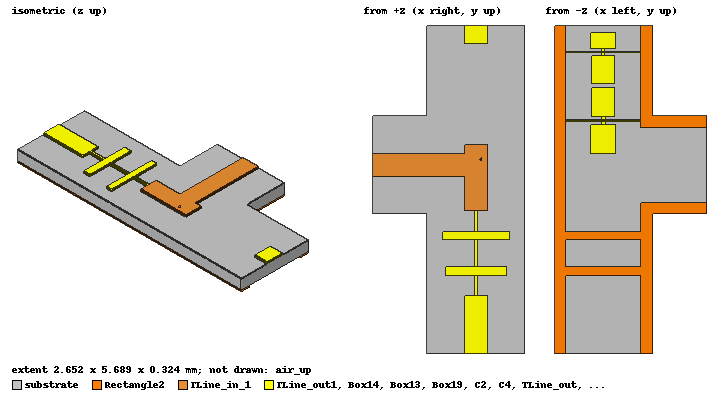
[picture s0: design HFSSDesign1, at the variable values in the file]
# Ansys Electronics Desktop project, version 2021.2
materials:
  vacuum: permittivity=1
  Al2_O3_ceramic: permittivity=9.9 dielectric_loss_tangent=0.002
  copper: permeability=0.999991 conductivity=58000000

design HFSSDesign1 (HFSS, DrivenModal, model units mm)
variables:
  l_line3185g = 0.604mm
  l_C4185g = 0.134655mm
  l_L3185g = 0.466720mm
  w_line185g = 0.395mm
  l_C2185g = 0.165564mm
  l_L1185g = 0.346276mm
  l_line4185g = 1mm
  l_L5185g = 0.361332mm
  l_sub185g = L2_g2185g+L2_g2185g+L4_g4185g+L4_g2185g+w_L4185g/2+L4_g2185g+L4_g4185g+w_L4185g/2+kong185G+L2_g4185g+w_L2185g*2+L2_g4185g-kong2185g+kong0185g+l_line2185g
  l_sub_LPF185g = l_line3185g+l_L5185g+l_C4185g+l_L3185g+l_C2185g+l_L1185g+l_line4185g
  l_line185g = 2mm
  L4_g4185g = 0.501mm
  h_sub185g = 0.254mm
  w_L4185g = 0.04mm
  kong0185g = 0
  L4_g2185g = 0.05mm
  w_sub185g = 1.7mm
  L2_g4185g = 0.501mm
  L2_g2185g = 0.05mm
  w_L2185g = 0.01mm
  kong185G = 0.06mm
  kong2185g = 0.42mm
  l_line2185g = 0.311579mm
  copper = 0.035mm
  h_down_box185g = 0.25mm
  h_up_box185g = 0.25mm
  gap_up_box185g = 0mm
  gap_down_box185g = 0.2mm
  l_line112g = 2mm
  w_line12g = 0.395mm
  w_line702g = 0.395mm
  delta_cover_HPF185g = 0.15mm
  w_lineout185g = 0.395mm
  w_L5185g = 0.04mm
  w_C4185g = 1.150000mm
  w_L3185g = 0.04mm
  w_C2185g = 1.050000mm
  w_L1185g = 0.06mm
  L2_g1185g = 0.04mm
  L7_g3185g = 0.431018mm
  L7_g4185g = 0.270035mm
  L4_g1185g = 0.07mm
  L2_g3185g = 0.405053mm
  L4_g3185g = 0.441403mm
  cx = 0.103860mm
  cy = -0.103860mm
  w_tapper = 0.064912mm
  h_tapper = 0.051930mm
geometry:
  substrate [Al2_O3_ceramic] = box(corner=(-w_sub185G/2, l_sub185g, 0mm), size=(w_sub185G, -(l_sub185g+(w_line185g)+l_sub_LPF185g), -h_sub185G))
  coordinate_system RelativeCS1 = origin=(0mm, -(w_line185g), 0mm) x=(-1mm, 0mm, 0mm) y=(0mm, -1mm, 0mm)
  coordinate_system RelativeCS2 = origin=(-w_line185g/2, -w_line185g/2, 0mm) x=(1mm, 0mm, 0mm) y=(0mm, 1mm, 0mm) in RelativeCS1
  sub_in = box(corner=(0, w_sub185g/2, 0mm), size=(l_line185g, -w_sub185g, -h_sub185g)) in RelativeCS2
  substrate.unite(sub_in)
  air_up [vacuum] = box(corner=(-(w_sub185g+2*gap_up_box185g)/2, l_sub185g, -(h_sub185g+copper)), size=(w_sub185g+2*gap_up_box185g, -(l_sub185g+(w_line185g)+l_sub_LPF185g), h_up_box185g+h_sub185g+copper))
  air_down = box(corner=(-(w_sub185g-2*gap_down_box185g)/2, l_sub185g, -(h_sub185g+copper)), size=(w_sub185g-2*gap_down_box185g, -(l_sub185g+(w_line185g)+l_sub_LPF185g), -h_down_box185g))
  air_up.unite(air_down)
  air_in1 = box(corner=(0, w_sub185g/2, -(h_sub185g+copper)), size=(l_line185g, -w_sub185g, h_sub185g+copper+h_up_box185g)) in RelativeCS2
  air_in2 = box(corner=(0, -(w_sub185g-2*gap_down_box185g)/2, -(h_sub185g+copper+h_down_box185g)), size=(l_line185g, w_sub185g-2*gap_down_box185g, h_down_box185g)) in RelativeCS2
  air_in1.unite(air_in2)
  air_up.unite(air_in1)
  TLine_in = box(corner=(w_line185g/2, 0mm, 0mm), size=(-l_line112g+w_line12g/2-w_line702g/2, -w_line185g, copper))
  Rectangle2 [copper] = rectangle(corner=(w_sub185g/2, l_sub185g, -h_sub185g), x_size=-gap_down_box185g, y_size=-(l_sub185g+(w_line185g)+l_sub_LPF185g))
  Rectangle2.thicken(-copper)
  Rectangle10 = rectangle(corner=(l_line185g, -w_sub185g/2, -h_sub185g), x_size=-(l_line185g-w_sub185g/2-w_line185g/2), y_size=gap_down_box185g) in RelativeCS2
  Rectangle12 = rectangle(corner=(w_sub185g/2+w_line185g/2, -(w_sub185g/2-gap_down_box185g), -h_sub185g), x_size=-gap_down_box185g, y_size=-(l_sub185g-(w_sub185g/2-gap_down_box185g-w_line185g/2))) in RelativeCS2
  Rectangle10.unite(Rectangle12)
  Rectangle10.thicken(copper)
  Rectangle2.unite(Rectangle10)
  C2_bottom = box(corner=(-(w_sub185g-gap_down_box185g*2)/2, l_line3185g+l_L5185g+l_C4185g+l_L3185g, -h_sub185g), size=(w_sub185g-gap_down_box185g*2, l_C2185g, -copper)) in RelativeCS1
  C4_bottom = box(corner=(-(w_sub185g-gap_down_box185g*2)/2, l_line3185g+l_L5185g, -h_sub185g), size=(w_sub185g-gap_down_box185g*2, l_C4185g, -copper)) in RelativeCS1
  Rectangle9 = rectangle(corner=(l_line185g, w_sub185g/2, -h_sub185g), x_size=-(l_line185g-w_sub185g/2-w_line185g/2), y_size=-gap_down_box185g) in RelativeCS2
  Rectangle11 = rectangle(corner=(w_sub185g/2+w_line185g/2, w_sub185g/2-gap_down_box185g, -h_sub185g), x_size=-gap_down_box185g, y_size=l_sub_LPF185g-(w_sub185g/2-gap_down_box185g-w_line185g/2)) in RelativeCS2
  Rectangle9.unite(Rectangle11)
  Rectangle9.thicken(-copper)
  Rectangle2.unite(C2_bottom, C4_bottom, Rectangle9)
  TLine_out [copper] = box(corner=(-w_line185g/2, L2_g2185g*2+L4_g4185g+L4_g2185g+w_L4185g/2+L4_g2185g+L4_g4185g+w_L4185g/2+kong185G+L2_g4185g+w_L2185g*2+L2_g4185g-kong2185g+kong0185g, 0mm), size=(w_lineout185g, l_line2185g, copper))
  L5 [copper] = box(corner=(-w_L5185g/2, l_line3185g, 0mm), size=(w_L5185g, l_L5185g, copper)) in RelativeCS1
  C4 [copper] = box(corner=(-w_C4185g/2, l_line3185g+l_L5185g, 0mm), size=(w_C4185g, l_C4185g, copper)) in RelativeCS1
  L3 [copper] = box(corner=(-w_L3185g/2, l_line3185g+l_L5185g+l_C4185g, 0mm), size=(w_L3185g, l_L3185g, copper)) in RelativeCS1
  C2 [copper] = box(corner=(-w_C2185g/2, l_line3185g+l_L5185g+l_C4185g+l_L3185g, 0mm), size=(w_C2185g, l_C2185g, copper)) in RelativeCS1
  L1 [copper] = box(corner=(-w_L1185g/2, l_line3185g+l_L5185g+l_C4185g+l_L3185g+l_C2185g, 0mm), size=(w_L1185g, l_L1185g, copper)) in RelativeCS1
  TLine_out1 [copper] = box(corner=(-w_line185g/2, l_line3185g+l_L5185g+l_C4185g+l_L3185g+l_C2185g+l_L1185g, 0mm), size=(w_lineout185g, l_line4185g, copper)) in RelativeCS1
  Box4 [copper] = box(corner=(-(w_sub185g-2*gap_down_box185g)/2, L4_g2185g+w_L4185g/2+L4_g2185g+L4_g4185g+w_L4185g/2+kong0185g+L2_g4185g+kong185G+L4_g4185g+L2_g2185g, -h_sub185g), size=(w_sub185g-2*gap_down_box185g, w_L2185g, -copper))
  Box6 [copper] = box(corner=(-L2_g1185g/2, L4_g2185g+w_L4185g/2+L4_g2185g+L4_g4185g+w_L4185g/2+kong0185g+L2_g4185g+kong185G+L4_g4185g, -h_sub185g), size=(L2_g1185g, L2_g2185g, -copper))
  Box7 [copper] = box(corner=(-L7_g3185g/2, L4_g2185g+w_L4185g/2+L4_g2185g+L4_g4185g+w_L4185g/2+kong0185g+L2_g4185g+kong185G+L4_g4185g+w_L2185g*2+L2_g2185g*2, -h_sub185g), size=(L7_g3185g, L7_g4185g, -copper))
  Box10 [copper] = box(corner=(-(w_sub185g-gap_down_box185g*2)/2, L4_g2185g+L4_g4185g+kong0185g, -h_sub185g), size=(w_sub185g-gap_down_box185g*2, w_L4185g/2, -copper))
  Box12 [copper] = box(corner=(-L4_g1185g/2, L4_g4185g+kong0185g, -h_sub185g), size=(L4_g1185g, L4_g2185g, -copper))
  Box13 [copper] = box(corner=(-L2_g3185g/2, L4_g2185g+w_L4185g/2+L4_g2185g+L4_g4185g+w_L4185g/2+kong0185g, -h_sub185g), size=(L2_g3185g, L2_g4185g, -copper))
  Box14 [copper] = box(corner=(-L4_g3185g/2, kong0185g, -h_sub185g), size=(L4_g3185g, L4_g4185g, -copper))
  Box17 [copper] = box(corner=(-(w_sub185g-gap_down_box185g*2)/2, L4_g2185g+L4_g4185g+kong0185g+w_L4185g/2, -h_sub185g), size=(w_sub185g-gap_down_box185g*2, w_L4185g/2, -copper))
  Box18 [copper] = box(corner=(-L4_g1185g/2, L4_g4185g+kong0185g+w_L4185g+L4_g2185g, -h_sub185g), size=(L4_g1185g, L4_g2185g, -copper))
  Box19 [copper] = box(corner=(-L2_g3185g/2, L4_g2185g+w_L4185g/2+L4_g2185g+L4_g4185g+w_L4185g/2+kong0185g+L2_g4185g+kong185G, -h_sub185g), size=(L2_g3185g, L2_g4185g, -copper))
  Box20 [copper] = box(corner=(-(w_sub185g-2*gap_down_box185g)/2, L4_g2185g+w_L4185g/2+L4_g2185g+L4_g4185g+w_L4185g/2+kong0185g+L2_g4185g+kong185G+L4_g4185g+L2_g2185g+w_L2185g, -h_sub185g), size=(w_sub185g-2*gap_down_box185g, w_L2185g, -copper))
  Box21 [copper] = box(corner=(-L2_g1185g/2, L4_g2185g+w_L4185g/2+L4_g2185g+L4_g4185g+w_L4185g/2+kong0185g+L2_g4185g+kong185G+L4_g4185g+w_L2185g*2+L2_g2185g, -h_sub185g), size=(L2_g1185g, L2_g2185g, -copper))
  TLine_in_1 [copper] = box(corner=(-w_line185g/2, 0mm, 0mm), size=(w_line185g, delta_cover_HPF185g, copper))
  Box2 = box(corner=(-w_line185g/2, 0mm, 0mm), size=(w_line185g, l_line3185g, copper)) in RelativeCS1
  Polyline1 = polyline(z=0mm, xy: (cx, cy-w_tapper/2) (cx-h_tapper, cy) (cx, cy +w_tapper/2) (cx, cy-w_tapper/2), closed, covered)
  Polyline1.thicken(-copper)
  TLine_in_1.unite(Box2, TLine_in)
  TLine_in_1.subtract(Polyline1)
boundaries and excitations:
  1: Wave Port Faces=air_up.face(6 of 6) NumModes=1 Modes{Mode1{CharImp=Zpi}}
  2: Wave Port Faces=air_up.face(+y) NumModes=1 Modes{Mode1{CharImp=Zpi}}
  3: Wave Port Faces=air_up.face(-y) NumModes=1 Modes{Mode1{CharImp=Zpi}}
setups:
  Setup1: HfssDriven Frequency=28.5GHz MaxDeltaS=0.02 MaximumPasses=12 MinimumPasses=1 MinimumConvergedPasses=1 PercentRefinement=30 BasisOrder=1 PortAccuracy=2
    sweep Sweep: 10GHz to 60GHz, 301 points; Type=Interpolating InterpTolerance=0.5 InterpMaxSolns=250 InterpUsePortImped=false PassivityErrorTolerance=0.0001
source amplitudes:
  1:1: 1W 0deg
  2:1, 3:1: 0W 0deg
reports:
  S Parameter Plot 1: dB(S(1,1)), dB(S(2,1)), dB(S(3,1)) vs Freq on Setup1 : Sweep; markers MX1 at x=2.1861902e+10, MX2 at x=1.7412681e+10
  Port Zo Plot 1: re(Zo(1)), re(Zo(2)), re(Zo(3)) vs Freq on Setup1 : Sweep
